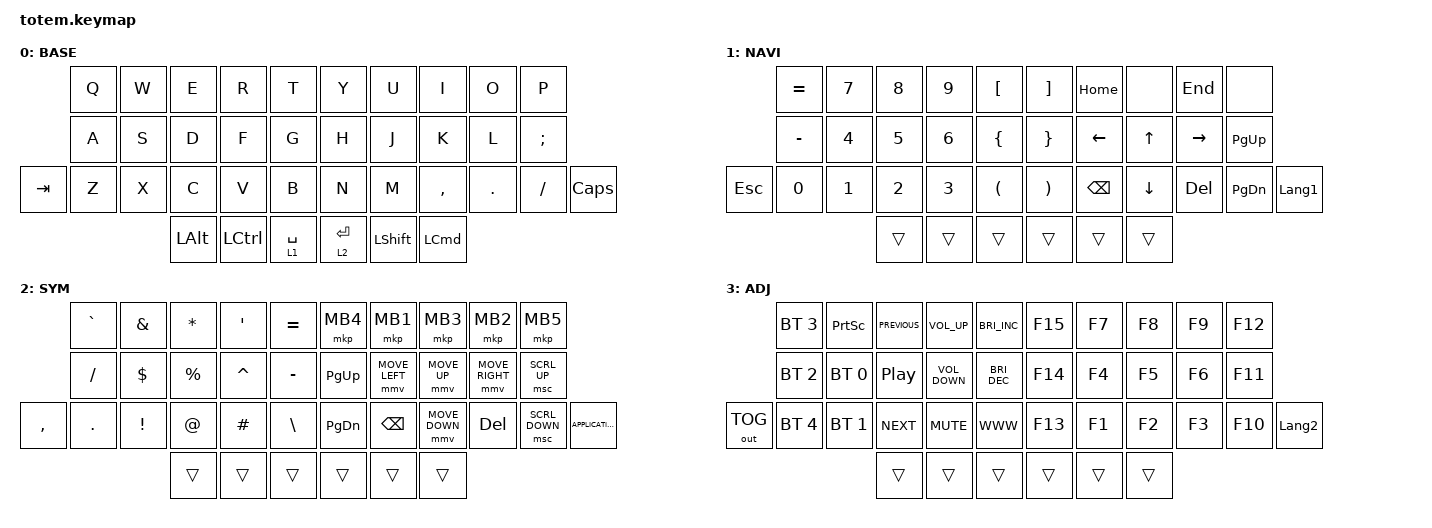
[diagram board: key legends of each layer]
//
//                                                        ▀▀▀▀▀     ▀▀▀▀▀          ▀▀█▀▀
//                                                        ▄▀▀▀▄  ▄  ▄▀▀▀▄  ▄  ▄▀▀▀▄  █  ▄▀▀▀▄
//                                                        █   █  █  █   █  █  █   █  █  █   █
//                                                         ▀▀▀   █   ▀▀▀   █   ▀▀▀   ▀   ▀▀▀
//                                                               █      ▄▄▄█▄▄▄    █   █  
//                                                               ▀      █  █  █     █▄█
//                                                             ▀▀▀▀▀    █  █  █      ▀
//                                                                      ▀  ▀  ▀
//
// ▄▄▄▄▄▄▄▄▄▄▄▄▄▄▄▄▄▄▄▄▄▄▄▄▄▄▄▄▄▄▄▄▄▄▄▄▄▄▄▄▄▄▄▄▄▄▄▄▄▄▄▄▄▄▄▄▄▄▄▄▄▄▄▄▄▄▄▄▄▄▄▄▄▄▄▄▄▄▄▄▄▄▄▄▄▄▄▄▄▄▄▄▄▄▄▄▄▄▄▄▄▄▄▄▄▄▄▄▄▄▄▄▄▄▄▄▄▄▄▄▄▄▄▄▄▄▄▄▄▄▄▄▄▄▄▄▄▄▄▄▄▄▄▄▄▄▄▄▄

#define ZMK_POINTING_DEFAULT_MOVE_VAL 1500  // default: 600

#include <behaviors.dtsi>
#include <dt-bindings/zmk/bt.h>
#include <dt-bindings/zmk/keys.h>
#include <dt-bindings/zmk/outputs.h>
#include <dt-bindings/zmk/pointing.h>

#define BASE 0
#define NAV  1
#define SYM  2
#define ADJ  3

&mt {
    quick-tap-ms = <100>;
    global-quick-tap;
    flavor = "tap-preferred";
    tapping-term-ms = <170>;
};

&mmv {
    time-to-max-speed-ms = <400>;
    acceleration-exponent = <1>;
};

&msc {
    time-to-max-speed-ms = <200>;
    acceleration-exponent = <0>;
};

&lt {
    tapping-term-ms = <170>;
    quick-tap-ms = <100>;
};

/ {
    combos {
        compatible = "zmk,combos";

        bluetooth_clear {
            bindings = <&bt BT_CLR>;
            key-positions = <3 2>;
            require-prior-idle-ms = <100>;
            layers = <3>;
            timeout-ms = <200>;
        };

        zmk_studio_unlock {
            bindings = <&studio_unlock>;
            key-positions = <0 1>;
            layers = <3>;
            timeout-ms = <200>;
            require-prior-idle-ms = <100>;
        };
    };

    behaviors {
        hm: homerow_mods {
            compatible = "zmk,behavior-hold-tap";
            label = "HOMEROW_MODS";
            bindings = <&lt>, <&kp>;

            #binding-cells = <2>;
            tapping-term-ms = <170>;
            quick-tap-ms = <100>;
            flavor = "tap-preferred";
        };
    };

    keymap {
        compatible = "zmk,keymap";

        // ▄▄▄▄▄▄▄▄▄▄▄▄▄▄▄▄▄▄▄▄▄▄▄▄▄▄▄▄▄▄▄▄▄▄▄▄▄▄▄▄▄▄▄▄▄▄▄▄▄▄▄▄▄▄▄▄▄▄▄▄▄▄▄▄▄▄▄▄▄▄▄▄▄▄▄▄▄▄▄▄▄▄▄▄▄▄▄▄▄▄▄▄▄▄▄▄▄▄▄▄▄▄▄▄▄▄▄▄▄▄▄▄▄▄▄▄▄▄▄▄▄▄▄▄▄▄▄▄▄▄▄▄▄▄▄▄▄▄▄▄▄▄▄▄▄▄▄▄▄

        base_layer {
            // ┏━━━━━━━━━━━━━━━━━━━━━━━━━━━━━━━━━━━━━━━┓

            label = "BASE";

            // ┗━━━━━━━━━━━━━━━━━━━━━━━━━━━━━━━━━━━━━━━┛
            //             ┏━━━━━━━━━━━┳━━━━━━━━━━━┳━━━━━━━━━━━┳━━━━━━━━━━━┳━━━━━━━━━━━┓   ┏━━━━━━━━━━━┳━━━━━━━━━━━┳━━━━━━━━━━━┳━━━━━━━━━━━┳━━━━━━━━━━━┓
            //             ┃     Q     ┃     W     ┃     F     ┃     P     ┃     G     ┃   ┃     J     ┃     L     ┃     U     ┃     Y     ┃     ;     ┃
            //             ┣━━━━━━━━━━━╋━━━━━━━━━━━╋━━━━━━━━━━━╋━━━━━━━━━━━╋━━━━━━━━━━━┫   ┣━━━━━━━━━━━╋━━━━━━━━━━━╋━━━━━━━━━━━╋━━━━━━━━━━━╋━━━━━━━━━━━┫
            //             ┃     A     ┃     R     ┃     S     ┃     T     ┃     D     ┃   ┃     H     ┃     N     ┃     E     ┃     I     ┃     O     ┃
            // ┏━━━━━━━━━━━╋━━━━━━━━━━━╋━━━━━━━━━━━╋━━━━━━━━━━━╋━━━━━━━━━━━╋━━━━━━━━━━━┫   ┣━━━━━━━━━━━╋━━━━━━━━━━━╋━━━━━━━━━━━╋━━━━━━━━━━━╋━━━━━━━━━━━╋━━━━━━━━━━━┓
            // ┃     Q     ┃     Z     ┃     X     ┃     C     ┃     V     ┃     B     ┃   ┃     K     ┃     M     ┃     ,     ┃     .     ┃     /     ┃     \     ┃
            // ┗━━━━━━━━━━━┻━━━━━━━━━━━┻━━━━━━━━━━━╋━━━━━━━━━━━╋━━━━━━━━━━━╋━━━━━━━━━━━┫   ┣━━━━━━━━━━━╋━━━━━━━━━━━╋━━━━━━━━━━━╋━━━━━━━━━━━┻━━━━━━━━━━━┻━━━━━━━━━━━┛
            //                                     ┃    DEL    ┃    TAB    ┃    SPC    ┃   ┃   ENTER   ┃           ┃   BSPC    ┃
            //                                     ┗━━━━━━━━━━━┻━━━━━━━━━━━┻━━━━━━━━━━━┛   ┗━━━━━━━━━━━┻━━━━━━━━━━━┻━━━━━━━━━━━┛

            bindings = <
         &kp Q  &kp W  &kp E         &kp R      &kp T          &kp Y        &kp U           &kp I             &kp O    &kp P
         &kp A  &kp S  &kp D         &kp F      &kp G          &kp H        &kp J           &kp K             &kp L    &kp SEMICOLON
&kp TAB  &kp Z  &kp X  &kp C         &kp V      &kp B          &kp N        &kp M           &kp COMMA         &kp DOT  &kp SLASH      &kp CAPSLOCK
                       &kp LEFT_ALT  &kp LCTRL  &lt 1 SPACE    &lt 2 ENTER  &kp LEFT_SHIFT  &kp LEFT_COMMAND
            >;
        };

        // ▄▄▄▄▄▄▄▄▄▄▄▄▄▄▄▄▄▄▄▄▄▄▄▄▄▄▄▄▄▄▄▄▄▄▄▄▄▄▄▄▄▄▄▄▄▄▄▄▄▄▄▄▄▄▄▄▄▄▄▄▄▄▄▄▄▄▄▄▄▄▄▄▄▄▄▄▄▄▄▄▄▄▄▄▄▄▄▄▄▄▄▄▄▄▄▄▄▄▄▄▄▄▄▄▄▄▄▄▄▄▄▄▄▄▄▄▄▄▄▄▄▄▄▄▄▄▄▄▄▄▄▄▄▄▄▄▄▄▄▄▄▄▄▄▄▄▄▄▄

        nav_layer {
            // ┏━━━━━━━━━━━━━━━━━━━━━━━━━━━━━━━━━━━━━━━┓

            label = "NAVI";

            // ┗━━━━━━━━━━━━━━━━━━━━━━━━━━━━━━━━━━━━━━━┛
            //             ┏━━━━━━━━━━━┳━━━━━━━━━━━┳━━━━━━━━━━━┳━━━━━━━━━━━┳━━━━━━━━━━━┓   ┏━━━━━━━━━━━┳━━━━━━━━━━━┳━━━━━━━━━━━┳━━━━━━━━━━━┳━━━━━━━━━━━┓
            //             ┃           ┃           ┃     UP    ┃           ┃     {     ┃   ┃     }     ┃     7     ┃     8     ┃     9     ┃     +     ┃
            //             ┣━━━━━━━━━━━╋━━━━━━━━━━━╋━━━━━━━━━━━╋━━━━━━━━━━━╋━━━━━━━━━━━┫   ┣━━━━━━━━━━━╋━━━━━━━━━━━╋━━━━━━━━━━━╋━━━━━━━━━━━╋━━━━━━━━━━━┫
            //             ┃   SHIFT   ┃   LEFT    ┃    DOWN   ┃   RIGHT   ┃     [     ┃   ┃     ]     ┃     4     ┃     5     ┃     6     ┃     -     ┃
            // ┏━━━━━━━━━━━╋━━━━━━━━━━━╋━━━━━━━━━━━╋━━━━━━━━━━━╋━━━━━━━━━━━╋━━━━━━━━━━━┫   ┣━━━━━━━━━━━╋━━━━━━━━━━━╋━━━━━━━━━━━╋━━━━━━━━━━━╋━━━━━━━━━━━╋━━━━━━━━━━━┓
            // ┃           ┃           ┃   P UP    ┃  C LOCK   ┃  P DOWN   ┃     (     ┃   ┃     )     ┃     1     ┃     2     ┃     3     ┃     *     ┃           ┃
            // ┗━━━━━━━━━━━┻━━━━━━━━━━━┻━━━━━━━━━━━╋━━━━━━━━━━━╋━━━━━━━━━━━╋━━━━━━━━━━━┫   ┣━━━━━━━━━━━╋━━━━━━━━━━━╋━━━━━━━━━━━╋━━━━━━━━━━━┻━━━━━━━━━━━┻━━━━━━━━━━━┛
            //                                     ┃           ┃    TAB    ┃    SPC    ┃   ┃    DEL    ┃     0     ┃           ┃
            //                                     ┗━━━━━━━━━━━┻━━━━━━━━━━━┻━━━━━━━━━━━┛   ┗━━━━━━━━━━━┻━━━━━━━━━━━┻━━━━━━━━━━━┛

            bindings = <
            &kp EQUAL  &kp N7        &kp NUMBER_8  &kp NUMBER_9  &kp LEFT_BRACKET    &kp RIGHT_BRACKET  &kp HOME        &none           &kp END          &none
            &kp MINUS  &kp NUMBER_4  &kp NUMBER_5  &kp NUMBER_6  &kp LEFT_BRACE      &kp RIGHT_BRACE    &kp LEFT_ARROW  &kp UP_ARROW    &kp RIGHT_ARROW  &kp PAGE_UP
&kp ESCAPE  &kp N0     &kp NUMBER_1  &kp NUMBER_2  &kp NUMBER_3  &kp LPAR            &kp RPAR           &kp BACKSPACE   &kp DOWN_ARROW  &kp DELETE       &kp PAGE_DOWN  &kp LANGUAGE_1
                                     &trans        &trans        &trans              &trans             &trans          &trans
            >;
        };

        // ▄▄▄▄▄▄▄▄▄▄▄▄▄▄▄▄▄▄▄▄▄▄▄▄▄▄▄▄▄▄▄▄▄▄▄▄▄▄▄▄▄▄▄▄▄▄▄▄▄▄▄▄▄▄▄▄▄▄▄▄▄▄▄▄▄▄▄▄▄▄▄▄▄▄▄▄▄▄▄▄▄▄▄▄▄▄▄▄▄▄▄▄▄▄▄▄▄▄▄▄▄▄▄▄▄▄▄▄▄▄▄▄▄▄▄▄▄▄▄▄▄▄▄▄▄▄▄▄▄▄▄▄▄▄▄▄▄▄▄▄▄▄▄▄▄▄▄▄▄

        sim_layer {
            // ┏━━━━━━━━━━━━━━━━━━━━━━━━━━━━━━━━━━━━━━━┓

            label = "SYM";

            // ┗━━━━━━━━━━━━━━━━━━━━━━━━━━━━━━━━━━━━━━━┛
            //             ┏━━━━━━━━━━━┳━━━━━━━━━━━┳━━━━━━━━━━━┳━━━━━━━━━━━┳━━━━━━━━━━━┓   ┏━━━━━━━━━━━┳━━━━━━━━━━━┳━━━━━━━━━━━┳━━━━━━━━━━━┳━━━━━━━━━━━┓
            //             ┃     !     ┃     @     ┃     #     ┃     $     ┃     %     ┃   ┃     ˆ     ┃     &     ┃     Ü     ┃     '     ┃     "     ┃
            //             ┣━━━━━━━━━━━╋━━━━━━━━━━━╋━━━━━━━━━━━╋━━━━━━━━━━━╋━━━━━━━━━━━┫   ┣━━━━━━━━━━━╋━━━━━━━━━━━╋━━━━━━━━━━━╋━━━━━━━━━━━╋━━━━━━━━━━━┫
            //             ┃     Ä     ┃           ┃    SZ     ┃           ┃           ┃   ┃   MUTE    ┃   YEN     ┃   EURO    ┃  POUND    ┃     Ö     ┃
            // ┏━━━━━━━━━━━╋━━━━━━━━━━━╋━━━━━━━━━━━╋━━━━━━━━━━━╋━━━━━━━━━━━╋━━━━━━━━━━━┫   ┣━━━━━━━━━━━╋━━━━━━━━━━━╋━━━━━━━━━━━╋━━━━━━━━━━━╋━━━━━━━━━━━╋━━━━━━━━━━━┓
            // ┃           ┃  EMAIL1   ┃  EMAIL2   ┃           ┃           ┃           ┃   ┃   VOL-    ┃   VOL+    ┃   LAST    ┃   NEXT    ┃     \     ┃           ┃
            // ┗━━━━━━━━━━━┻━━━━━━━━━━━┻━━━━━━━━━━━╋━━━━━━━━━━━╋━━━━━━━━━━━╋━━━━━━━━━━━┫   ┣━━━━━━━━━━━╋━━━━━━━━━━━╋━━━━━━━━━━━╋━━━━━━━━━━━┻━━━━━━━━━━━┻━━━━━━━━━━━┛
            //                                     ┃           ┃    GIF    ┃    ADJ    ┃   ┃           ┃           ┃           ┃
            //                                     ┗━━━━━━━━━━━┻━━━━━━━━━━━┻━━━━━━━━━━━┛   ┗━━━━━━━━━━━┻━━━━━━━━━━━┻━━━━━━━━━━━┛

            bindings = <
           &kp GRAVE  &kp AMPERSAND    &kp ASTERISK  &kp SINGLE_QUOTE  &kp EQUAL        &mkp MB4       &mkp MB1        &mkp MB3        &mkp MB2         &mkp MB5
           &kp SLASH  &kp DOLLAR       &kp PERCENT   &kp CARET         &kp MINUS        &kp PAGE_UP    &mmv MOVE_LEFT  &mmv MOVE_UP    &mmv MOVE_RIGHT  &msc SCRL_UP
&kp COMMA  &kp DOT    &kp EXCLAMATION  &kp AT_SIGN   &kp HASH          &kp BACKSLASH    &kp PAGE_DOWN  &kp BACKSPACE   &mmv MOVE_DOWN  &kp DELETE       &msc SCRL_DOWN  &kp K_APPLICATION
                                       &trans        &trans            &trans           &trans         &trans          &trans
            >;
        };

        // ▄▄▄▄▄▄▄▄▄▄▄▄▄▄▄▄▄▄▄▄▄▄▄▄▄▄▄▄▄▄▄▄▄▄▄▄▄▄▄▄▄▄▄▄▄▄▄▄▄▄▄▄▄▄▄▄▄▄▄▄▄▄▄▄▄▄▄▄▄▄▄▄▄▄▄▄▄▄▄▄▄▄▄▄▄▄▄▄▄▄▄▄▄▄▄▄▄▄▄▄▄▄▄▄▄▄▄▄▄▄▄▄▄▄▄▄▄▄▄▄▄▄▄▄▄▄▄▄▄▄▄▄▄▄▄▄▄▄▄▄▄▄▄▄▄▄▄▄▄

        adjust_layer {
            // ┏━━━━━━━━━━━━━━━━━━━━━━━━━━━━━━━━━━━━━━━┓

            label = "ADJ";

            // ┗━━━━━━━━━━━━━━━━━━━━━━━━━━━━━━━━━━━━━━━┛
            //             ┏━━━━━━━━━━━┳━━━━━━━━━━━┳━━━━━━━━━━━┳━━━━━━━━━━━┳━━━━━━━━━━━┓   ┏━━━━━━━━━━━┳━━━━━━━━━━━┳━━━━━━━━━━━┳━━━━━━━━━━━┳━━━━━━━━━━━┓
            //             ┃   RESET   ┃ BT CLEAR  ┃  OUT TOG  ┃           ┃           ┃   ┃           ┃    F7     ┃    F8     ┃    F9     ┃    F12    ┃
            //             ┣━━━━━━━━━━━╋━━━━━━━━━━━╋━━━━━━━━━━━╋━━━━━━━━━━━╋━━━━━━━━━━━┫   ┣━━━━━━━━━━━╋━━━━━━━━━━━╋━━━━━━━━━━━╋━━━━━━━━━━━╋━━━━━━━━━━━┫
            //             ┃ BOOTLOAD  ┃ BT NEXT   ┃           ┃           ┃           ┃   ┃           ┃    F4     ┃    F5     ┃    F6     ┃    F11    ┃
            // ┏━━━━━━━━━━━╋━━━━━━━━━━━╋━━━━━━━━━━━╋━━━━━━━━━━━╋━━━━━━━━━━━╋━━━━━━━━━━━┫   ┣━━━━━━━━━━━╋━━━━━━━━━━━╋━━━━━━━━━━━╋━━━━━━━━━━━╋━━━━━━━━━━━╋━━━━━━━━━━━┓
            // ┃           ┃           ┃ BT PREV   ┃           ┃           ┃           ┃   ┃           ┃    F1     ┃    F2     ┃    F3     ┃    F10    ┃           ┃
            // ┗━━━━━━━━━━━┻━━━━━━━━━━━┻━━━━━━━━━━━╋━━━━━━━━━━━╋━━━━━━━━━━━╋━━━━━━━━━━━┫   ┣━━━━━━━━━━━╋━━━━━━━━━━━╋━━━━━━━━━━━╋━━━━━━━━━━━┻━━━━━━━━━━━┻━━━━━━━━━━━┛
            //                                     ┃           ┃           ┃           ┃   ┃           ┃           ┃           ┃
            //                                     ┗━━━━━━━━━━━┻━━━━━━━━━━━┻━━━━━━━━━━━┛   ┗━━━━━━━━━━━┻━━━━━━━━━━━┻━━━━━━━━━━━┛

            bindings = <
              &bt BT_SEL 3  &kp PRINTSCREEN  &kp C_PREVIOUS    &kp C_VOLUME_UP    &kp C_BRIGHTNESS_INC    &kp F15  &kp F7  &kp F8  &kp F9  &kp F12
              &bt BT_SEL 2  &bt BT_SEL 0     &kp C_PLAY_PAUSE  &kp C_VOLUME_DOWN  &kp C_BRIGHTNESS_DEC    &kp F14  &kp F4  &kp F5  &kp F6  &kp F11
&out OUT_TOG  &bt BT_SEL 4  &bt BT_SEL 1     &kp C_NEXT        &kp C_MUTE         &kp K_WWW               &kp F13  &kp F1  &kp F2  &kp F3  &kp F10  &kp LANGUAGE_2
                                             &trans            &trans             &trans                  &trans   &trans  &trans
            >;
        };
    };

    conditional_layers {
        compatible = "zmk,conditional-layers";

        adj_active {
            if-layers = <1 2>;
            then-layer = <3>;
        };
    };
};
